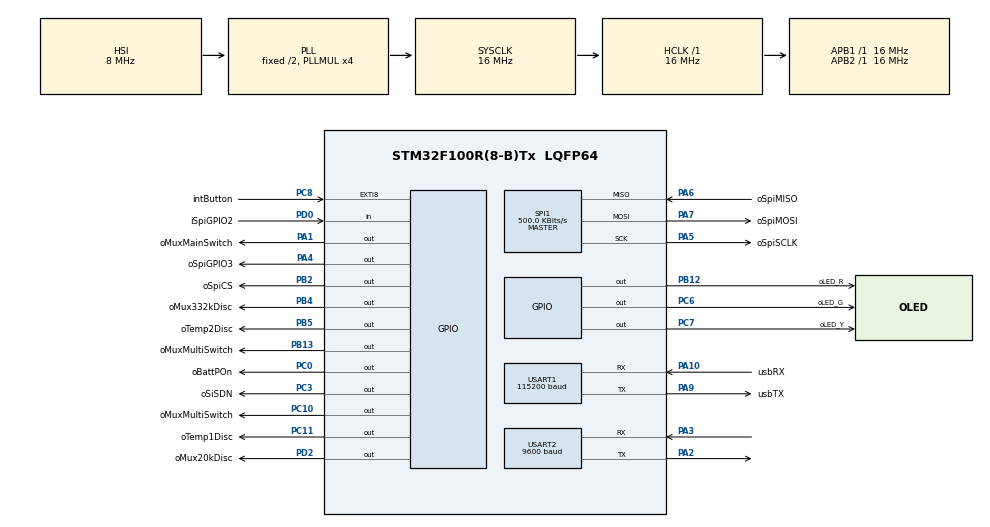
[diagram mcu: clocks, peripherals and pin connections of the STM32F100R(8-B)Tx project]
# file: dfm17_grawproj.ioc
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Dma.Request0=USART2_RX
Dma.Request1=USART2_TX
Dma.USART2_RX.0.Direction=DMA_PERIPH_TO_MEMORY
Dma.USART2_RX.0.Instance=DMA1_Channel6
Dma.USART2_RX.0.MemDataAlignment=DMA_MDATAALIGN_BYTE
Dma.USART2_RX.0.MemInc=DMA_MINC_ENABLE
Dma.USART2_RX.0.Mode=DMA_NORMAL
Dma.USART2_RX.0.PeriphDataAlignment=DMA_PDATAALIGN_BYTE
Dma.USART2_RX.0.PeriphInc=DMA_PINC_DISABLE
Dma.USART2_RX.0.Priority=DMA_PRIORITY_LOW
Dma.USART2_TX.1.Direction=DMA_MEMORY_TO_PERIPH
Dma.USART2_TX.1.Instance=DMA1_Channel7
Dma.USART2_TX.1.MemDataAlignment=DMA_MDATAALIGN_BYTE
Dma.USART2_TX.1.MemInc=DMA_MINC_ENABLE
Dma.USART2_TX.1.Mode=DMA_NORMAL
Dma.USART2_TX.1.PeriphDataAlignment=DMA_PDATAALIGN_BYTE
Dma.USART2_TX.1.PeriphInc=DMA_PINC_DISABLE
Dma.USART2_TX.1.Priority=DMA_PRIORITY_LOW
Mcu.Family=STM32F1
Mcu.Name=STM32F100R(8-B)Tx
Mcu.Package=LQFP64
NVIC.DMA1_Channel6_IRQn=true\:1\:0\:true\:false\:true\:false\:true\:true
NVIC.DMA1_Channel7_IRQn=true\:2\:0\:true\:false\:true\:false\:true\:true
NVIC.EXTI9_5_IRQn=true\:4\:0\:true\:false\:true\:true\:true\:true
NVIC.PriorityGroup=NVIC_PRIORITYGROUP_4
NVIC.TIM6_DAC_IRQn=true\:10\:0\:true\:false\:true\:true\:true\:true
NVIC.USART2_IRQn=true\:5\:0\:true\:false\:true\:true\:true\:true
PA1.GPIO_Label=oMuxMainSwitch
PA1.Signal=GPIO_Output
PA10.GPIO_Label=usbRX
PA10.Mode=Asynchronous
PA10.Signal=USART1_RX
PA11.Signal=S_TIM1_CH4
PA12.Signal=S_TIM1_ETR
PA13.Mode=Serial_Wire
PA13.Signal=SYS_JTMS-SWDIO
PA14.Mode=Serial_Wire
PA14.Signal=SYS_JTCK-SWCLK
PA2.GPIO_Speed=GPIO_SPEED_FREQ_LOW
PA2.Mode=Asynchronous
PA2.Signal=USART2_TX
PA3.Mode=Asynchronous
PA3.Signal=USART2_RX
PA4.GPIO_Label=oSpiGPIO3
PA4.Signal=GPIO_Output
PA5.GPIO_Label=oSpiSCLK
PA5.GPIO_Speed=GPIO_SPEED_FREQ_LOW
PA5.Mode=Full_Duplex_Master
PA5.Signal=SPI1_SCK
PA6.GPIO_Label=oSpiMISO
PA6.GPIO_PuPd=GPIO_PULLUP
PA6.Mode=Full_Duplex_Master
PA6.Signal=SPI1_MISO
PA7.GPIO_Label=oSpiMOSI
PA7.GPIO_Speed=GPIO_SPEED_FREQ_LOW
PA7.Mode=Full_Duplex_Master
PA7.Signal=SPI1_MOSI
PA9.GPIO_Label=usbTX
PA9.GPIO_Speed=GPIO_SPEED_FREQ_LOW
PA9.Mode=Asynchronous
PA9.Signal=USART1_TX
PB0.Signal=TIM1_CH2N
PB12.GPIO_Label=oLED_R
PB12.Signal=GPIO_Output
PB13.GPIO_Label=oMuxMultiSwitch
PB13.Signal=GPIO_Output
PB2.GPIO_Label=oSpiCS
PB2.GPIO_PuPd=GPIO_PULLUP
PB2.PinState=GPIO_PIN_SET
PB2.Signal=GPIO_Output
PB3.Signal=SYS_JTDO-TRACESWO
PB4.GPIO_Label=oMux332kDisc
PB4.PinState=GPIO_PIN_SET
PB4.Signal=GPIO_Output
PB5.GPIO_Label=oTemp2Disc
PB5.PinState=GPIO_PIN_SET
PB5.Signal=GPIO_Output
PC0.GPIO_Label=oBattPOn
PC0.Signal=GPIO_Output
PC10.GPIO_Label=oMuxMultiSwitch
PC10.PinState=GPIO_PIN_RESET
PC10.Signal=GPIO_Output
PC11.GPIO_Label=oTemp1Disc
PC11.PinState=GPIO_PIN_SET
PC11.Signal=GPIO_Output
PC3.GPIO_Label=oSiSDN
PC3.GPIO_PuPd=GPIO_PULLUP
PC3.PinState=GPIO_PIN_SET
PC3.Signal=GPIO_Output
PC6.GPIO_Label=oLED_G
PC6.Signal=GPIO_Output
PC7.GPIO_Label=oLED_Y
PC7.Signal=GPIO_Output
PC8.GPIO_Label=intButton
PC8.Signal=GPXTI8
PD0-OSC_IN.GPIO_Label=iSpiGPIO2
PD0-OSC_IN.Signal=GPIO_Input
PD2.GPIO_Label=oMux20kDisc
PD2.PinState=GPIO_PIN_RESET
PD2.Signal=GPIO_Output
ProjectManager.HeapSize=0x200
ProjectManager.StackSize=0x400
ProjectManager.TargetToolchain=STM32CubeIDE
RCC.AHBFreq_Value=16000000
RCC.APB1Freq_Value=16000000
RCC.APB1TimFreq_Value=16000000
RCC.APB2Freq_Value=16000000
RCC.APB2TimFreq_Value=16000000
RCC.HCLKFreq_Value=16000000
RCC.PLLMUL=RCC_PLL_MUL4
RCC.SYSCLKFreq_VALUE=16000000
RCC.SYSCLKSource=RCC_SYSCLKSOURCE_PLLCLK
SH.S_TIM1_CH4.0=TIM1_CH4
SH.S_TIM1_ETR.0=TIM1_ETR
SPI1.BaudRatePrescaler=SPI_BAUDRATEPRESCALER_32
SPI1.CalculateBaudRate=500.0 KBits/s
SPI1.Direction=SPI_DIRECTION_2LINES
SPI1.Mode=SPI_MODE_MASTER
SPI1.VirtualType=VM_MASTER
TIM1.Period=0xffff-1
TIM1.Prescaler=16-1
TIM3.Period=0xffff-1
TIM3.Prescaler=16-1
TIM6.Period=50000-1
TIM6.Prescaler=1600-1
USART1.BaudRate=115200
USART1.VirtualMode=VM_ASYNC
USART2.BaudRate=9600
USART2.VirtualMode=VM_ASYNC
VP_TIM1_VS_ClockSourceINT.Mode=Internal
VP_TIM3_VS_ClockSourceINT.Mode=Internal
VP_TIM6_VS_ClockSourceINT.Mode=Enable_Timer
board=custom

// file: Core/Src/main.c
/* USER CODE BEGIN Header */
/**
  ******************************************************************************
  * @file           : main.c
  * @brief          : Main program body
  ******************************************************************************
  * @attention
  *
  * Copyright (c) 2023 STMicroelectronics.
  * All rights reserved.
  *
  * This software is licensed under terms that can be found in the LICENSE file
  * in the root directory of this software component.
  * If no LICENSE file comes with this software, it is provided AS-IS.
  *
  ******************************************************************************
  * Timer  	Priority    Purpose
  * TIM1 				To be used with temperature/humidity mux
  * TIM3 				Delay_us function (should probably move)
  * TIM6 	10			Tick timer for GPS updates
  *
  * DMA		Priority	Purpose
  * 6		1			RX from GPS
  * 7		2			TX to GPS
  *
  ******************************************************************************
  */
/* USER CODE END Header */
#include "main.h"

/* USER CODE BEGIN Includes */
#include <GNSS.h>

/* USER CODE END Includes */

SPI_HandleTypeDef hspi1;

TIM_HandleTypeDef htim1;
TIM_HandleTypeDef htim3;
TIM_HandleTypeDef htim6;

UART_HandleTypeDef huart1;
UART_HandleTypeDef huart2;
DMA_HandleTypeDef hdma_usart2_rx;
DMA_HandleTypeDef hdma_usart2_tx;

/* USER CODE BEGIN PV */
uint8_t txDone;
uint8_t rxDone;

GNSS_StateHandle GNSS_Handle;

/* USER CODE END PV */

void SystemClock_Config(void);
static void MX_GPIO_Init(void);
static void MX_DMA_Init(void);
static void MX_SPI1_Init(void);
static void MX_TIM1_Init(void);
static void MX_USART1_UART_Init(void);
static void MX_USART2_UART_Init(void);
static void MX_TIM3_Init(void);
static void MX_TIM6_Init(void);

int main(void)
{

  /* MCU Configuration--------------------------------------------------------*/

  /* Reset of all peripherals, Initializes the Flash interface and the Systick. */
  HAL_Init();

  /* Configure the system clock */
  SystemClock_Config();

  /* Initialize all configured peripherals */
  MX_GPIO_Init();
  MX_DMA_Init();
  MX_SPI1_Init();
  MX_TIM1_Init();
  MX_USART1_UART_Init();
  MX_USART2_UART_Init();
  MX_TIM3_Init();
  MX_TIM6_Init();
  /* USER CODE BEGIN 2 */

  printf("Initializing radio...\r\n");
  vRadio_Init();

  printf("Starting radio...\r\n");
  vRadio_StartTx(pRadioConfiguration->Radio_ChannelNumber, NULL);

  txDone = 0xFF;
  rxDone = 0xFF;

  printf("Starting ublox...\r\n");
  GNSS_Init(&GNSS_Handle, &huart2, &txDone, &rxDone);
  HAL_Delay(1000);
  GNSS_LoadConfig(&GNSS_Handle);

  //Start Timer 6, 5sec interrupt timer for gps updates
  if (HAL_TIM_Base_Start_IT(&htim6) != HAL_OK)
  {
	  /* Starting Error */
  	  Error_Handler();
  }

  /* USER CODE END 2 */

  /* Infinite loop */
  while (1)
  {

    /* USER CODE BEGIN 3 */
	#if (RADIO_MODE_SELECT == 1)
	radioToneForGraw();
	#endif

  }
  /* USER CODE END 3 */
}

void SystemClock_Config(void)
{
  RCC_OscInitTypeDef RCC_OscInitStruct = {0};
  RCC_ClkInitTypeDef RCC_ClkInitStruct = {0};

  /** Initializes the RCC Oscillators according to the specified parameters
  * in the RCC_OscInitTypeDef structure.
  */
  RCC_OscInitStruct.OscillatorType = RCC_OSCILLATORTYPE_HSI;
  RCC_OscInitStruct.HSIState = RCC_HSI_ON;
  RCC_OscInitStruct.HSICalibrationValue = RCC_HSICALIBRATION_DEFAULT;
  RCC_OscInitStruct.PLL.PLLState = RCC_PLL_ON;
  RCC_OscInitStruct.PLL.PLLSource = RCC_PLLSOURCE_HSI_DIV2;
  RCC_OscInitStruct.PLL.PLLMUL = RCC_PLL_MUL4;
  if (HAL_RCC_OscConfig(&RCC_OscInitStruct) != HAL_OK)
  {
    Error_Handler();
  }

  /** Initializes the CPU, AHB and APB buses clocks
  */
  RCC_ClkInitStruct.ClockType = RCC_CLOCKTYPE_HCLK|RCC_CLOCKTYPE_SYSCLK
                              |RCC_CLOCKTYPE_PCLK1|RCC_CLOCKTYPE_PCLK2;
  RCC_ClkInitStruct.SYSCLKSource = RCC_SYSCLKSOURCE_PLLCLK;
  RCC_ClkInitStruct.AHBCLKDivider = RCC_SYSCLK_DIV1;
  RCC_ClkInitStruct.APB1CLKDivider = RCC_HCLK_DIV1;
  RCC_ClkInitStruct.APB2CLKDivider = RCC_HCLK_DIV1;

  if (HAL_RCC_ClockConfig(&RCC_ClkInitStruct, FLASH_LATENCY_0) != HAL_OK)
  {
    Error_Handler();
  }
}

static void MX_SPI1_Init(void)
{

  /* SPI1 parameter configuration*/
  hspi1.Instance = SPI1;
  hspi1.Init.Mode = SPI_MODE_MASTER;
  hspi1.Init.Direction = SPI_DIRECTION_2LINES;
  hspi1.Init.DataSize = SPI_DATASIZE_8BIT;
  hspi1.Init.CLKPolarity = SPI_POLARITY_LOW;
  hspi1.Init.CLKPhase = SPI_PHASE_1EDGE;
  hspi1.Init.NSS = SPI_NSS_SOFT;
  hspi1.Init.BaudRatePrescaler = SPI_BAUDRATEPRESCALER_32;
  hspi1.Init.FirstBit = SPI_FIRSTBIT_MSB;
  hspi1.Init.TIMode = SPI_TIMODE_DISABLE;
  hspi1.Init.CRCCalculation = SPI_CRCCALCULATION_DISABLE;
  hspi1.Init.CRCPolynomial = 10;
  if (HAL_SPI_Init(&hspi1) != HAL_OK)
  {
    Error_Handler();
  }

}

static void MX_TIM1_Init(void)
{

  TIM_ClockConfigTypeDef sClockSourceConfig = {0};
  TIM_MasterConfigTypeDef sMasterConfig = {0};

  htim1.Instance = TIM1;
  htim1.Init.Prescaler = 16-1;
  htim1.Init.CounterMode = TIM_COUNTERMODE_UP;
  htim1.Init.Period = 0xffff-1;
  htim1.Init.ClockDivision = TIM_CLOCKDIVISION_DIV1;
  htim1.Init.RepetitionCounter = 0;
  htim1.Init.AutoReloadPreload = TIM_AUTORELOAD_PRELOAD_DISABLE;
  if (HAL_TIM_Base_Init(&htim1) != HAL_OK)
  {
    Error_Handler();
  }
  sClockSourceConfig.ClockSource = TIM_CLOCKSOURCE_INTERNAL;
  if (HAL_TIM_ConfigClockSource(&htim1, &sClockSourceConfig) != HAL_OK)
  {
    Error_Handler();
  }
  sMasterConfig.MasterOutputTrigger = TIM_TRGO_RESET;
  sMasterConfig.MasterSlaveMode = TIM_MASTERSLAVEMODE_DISABLE;
  if (HAL_TIMEx_MasterConfigSynchronization(&htim1, &sMasterConfig) != HAL_OK)
  {
    Error_Handler();
  }
  /* USER CODE BEGIN TIM1_Init 2 */
  HAL_TIM_Base_Start(&htim1); //start timer 1

  /* USER CODE END TIM1_Init 2 */

}

static void MX_TIM3_Init(void)
{

  TIM_ClockConfigTypeDef sClockSourceConfig = {0};
  TIM_MasterConfigTypeDef sMasterConfig = {0};

  htim3.Instance = TIM3;
  htim3.Init.Prescaler = 16-1;
  htim3.Init.CounterMode = TIM_COUNTERMODE_UP;
  htim3.Init.Period = 0xffff-1;
  htim3.Init.ClockDivision = TIM_CLOCKDIVISION_DIV1;
  htim3.Init.AutoReloadPreload = TIM_AUTORELOAD_PRELOAD_DISABLE;
  if (HAL_TIM_Base_Init(&htim3) != HAL_OK)
  {
    Error_Handler();
  }
  sClockSourceConfig.ClockSource = TIM_CLOCKSOURCE_INTERNAL;
  if (HAL_TIM_ConfigClockSource(&htim3, &sClockSourceConfig) != HAL_OK)
  {
    Error_Handler();
  }
  sMasterConfig.MasterOutputTrigger = TIM_TRGO_RESET;
  sMasterConfig.MasterSlaveMode = TIM_MASTERSLAVEMODE_DISABLE;
  if (HAL_TIMEx_MasterConfigSynchronization(&htim3, &sMasterConfig) != HAL_OK)
  {
    Error_Handler();
  }
  /* USER CODE BEGIN TIM3_Init 2 */
  delayTimerInit(&htim3);

  /* USER CODE END TIM3_Init 2 */

}

static void MX_TIM6_Init(void)
{

  TIM_MasterConfigTypeDef sMasterConfig = {0};

  htim6.Instance = TIM6;
  htim6.Init.Prescaler = 1600-1;
  htim6.Init.CounterMode = TIM_COUNTERMODE_UP;
  htim6.Init.Period = 50000-1;
  htim6.Init.AutoReloadPreload = TIM_AUTORELOAD_PRELOAD_DISABLE;
  if (HAL_TIM_Base_Init(&htim6) != HAL_OK)
  {
    Error_Handler();
  }
  sMasterConfig.MasterOutputTrigger = TIM_TRGO_RESET;
  sMasterConfig.MasterSlaveMode = TIM_MASTERSLAVEMODE_DISABLE;
  if (HAL_TIMEx_MasterConfigSynchronization(&htim6, &sMasterConfig) != HAL_OK)
  {
    Error_Handler();
  }

}

static void MX_USART1_UART_Init(void)
{

  huart1.Instance = USART1;
  huart1.Init.BaudRate = 115200;
  huart1.Init.WordLength = UART_WORDLENGTH_8B;
  huart1.Init.StopBits = UART_STOPBITS_1;
  huart1.Init.Parity = UART_PARITY_NONE;
  huart1.Init.Mode = UART_MODE_TX_RX;
  huart1.Init.HwFlowCtl = UART_HWCONTROL_NONE;
  huart1.Init.OverSampling = UART_OVERSAMPLING_16;
  if (HAL_UART_Init(&huart1) != HAL_OK)
  {
    Error_Handler();
  }
  /* USER CODE BEGIN USART1_Init 2 */
  SpiEnable();
  /* USER CODE END USART1_Init 2 */

}

static void MX_USART2_UART_Init(void)
{

  huart2.Instance = USART2;
  huart2.Init.BaudRate = 9600;
  huart2.Init.WordLength = UART_WORDLENGTH_8B;
  huart2.Init.StopBits = UART_STOPBITS_1;
  huart2.Init.Parity = UART_PARITY_NONE;
  huart2.Init.Mode = UART_MODE_TX_RX;
  huart2.Init.HwFlowCtl = UART_HWCONTROL_NONE;
  huart2.Init.OverSampling = UART_OVERSAMPLING_16;
  if (HAL_UART_Init(&huart2) != HAL_OK)
  {
    Error_Handler();
  }

}

static void MX_DMA_Init(void)
{

  /* DMA controller clock enable */
  __HAL_RCC_DMA1_CLK_ENABLE();

  /* DMA interrupt init */
  /* DMA1_Channel6_IRQn interrupt configuration */
  HAL_NVIC_SetPriority(DMA1_Channel6_IRQn, 1, 0);
  HAL_NVIC_EnableIRQ(DMA1_Channel6_IRQn);
  /* DMA1_Channel7_IRQn interrupt configuration */
  HAL_NVIC_SetPriority(DMA1_Channel7_IRQn, 2, 0);
  HAL_NVIC_EnableIRQ(DMA1_Channel7_IRQn);

}

static void MX_GPIO_Init(void)
{
  GPIO_InitTypeDef GPIO_InitStruct = {0};

  /* GPIO Ports Clock Enable */
  __HAL_RCC_GPIOD_CLK_ENABLE();
  __HAL_RCC_GPIOC_CLK_ENABLE();
  __HAL_RCC_GPIOA_CLK_ENABLE();
  __HAL_RCC_GPIOB_CLK_ENABLE();

  /*Configure GPIO pin Output Level */
  HAL_GPIO_WritePin(GPIOC, oBattPOn_Pin|oLED_G_Pin|oLED_Y_Pin|oMuxMultiSwitchC10_Pin, GPIO_PIN_RESET);

  /*Configure GPIO pin Output Level */
  HAL_GPIO_WritePin(GPIOC, oSiSDN_Pin|oTemp1Disc_Pin, GPIO_PIN_SET);

  /*Configure GPIO pin Output Level */
  HAL_GPIO_WritePin(GPIOA, oMuxMainSwitch_Pin|oSpiGPIO3_Pin, GPIO_PIN_RESET);

  /*Configure GPIO pin Output Level */
  HAL_GPIO_WritePin(GPIOB, oSpiCS_Pin|oMux332kDisc_Pin|oTemp2Disc_Pin, GPIO_PIN_SET);

  /*Configure GPIO pin Output Level */
  HAL_GPIO_WritePin(GPIOB, oLED_R_Pin|oMuxMultiSwitch_Pin, GPIO_PIN_RESET);

  /*Configure GPIO pin Output Level */
  HAL_GPIO_WritePin(oMux20kDisc_GPIO_Port, oMux20kDisc_Pin, GPIO_PIN_RESET);

  /*Configure GPIO pin : iSpiGPIO2_Pin */
  GPIO_InitStruct.Pin = iSpiGPIO2_Pin;
  GPIO_InitStruct.Mode = GPIO_MODE_INPUT;
  GPIO_InitStruct.Pull = GPIO_NOPULL;
  HAL_GPIO_Init(iSpiGPIO2_GPIO_Port, &GPIO_InitStruct);

  /*Configure GPIO pins : oBattPOn_Pin oLED_G_Pin oLED_Y_Pin oMuxMultiSwitchC10_Pin
                           oTemp1Disc_Pin */
  GPIO_InitStruct.Pin = oBattPOn_Pin|oLED_G_Pin|oLED_Y_Pin|oMuxMultiSwitchC10_Pin
                          |oTemp1Disc_Pin;
  GPIO_InitStruct.Mode = GPIO_MODE_OUTPUT_PP;
  GPIO_InitStruct.Pull = GPIO_NOPULL;
  GPIO_InitStruct.Speed = GPIO_SPEED_FREQ_LOW;
  HAL_GPIO_Init(GPIOC, &GPIO_InitStruct);

  /*Configure GPIO pin : oSiSDN_Pin */
  GPIO_InitStruct.Pin = oSiSDN_Pin;
  GPIO_InitStruct.Mode = GPIO_MODE_OUTPUT_PP;
  GPIO_InitStruct.Pull = GPIO_PULLUP;
  GPIO_InitStruct.Speed = GPIO_SPEED_FREQ_LOW;
  HAL_GPIO_Init(oSiSDN_GPIO_Port, &GPIO_InitStruct);

  /*Configure GPIO pins : oMuxMainSwitch_Pin oSpiGPIO3_Pin */
  GPIO_InitStruct.Pin = oMuxMainSwitch_Pin|oSpiGPIO3_Pin;
  GPIO_InitStruct.Mode = GPIO_MODE_OUTPUT_PP;
  GPIO_InitStruct.Pull = GPIO_NOPULL;
  GPIO_InitStruct.Speed = GPIO_SPEED_FREQ_LOW;
  HAL_GPIO_Init(GPIOA, &GPIO_InitStruct);

  /*Configure GPIO pin : oSpiCS_Pin */
  GPIO_InitStruct.Pin = oSpiCS_Pin;
  GPIO_InitStruct.Mode = GPIO_MODE_OUTPUT_PP;
  GPIO_InitStruct.Pull = GPIO_PULLUP;
  GPIO_InitStruct.Speed = GPIO_SPEED_FREQ_LOW;
  HAL_GPIO_Init(oSpiCS_GPIO_Port, &GPIO_InitStruct);

  /*Configure GPIO pins : oLED_R_Pin oMuxMultiSwitch_Pin oMux332kDisc_Pin oTemp2Disc_Pin */
  GPIO_InitStruct.Pin = oLED_R_Pin|oMuxMultiSwitch_Pin|oMux332kDisc_Pin|oTemp2Disc_Pin;
  GPIO_InitStruct.Mode = GPIO_MODE_OUTPUT_PP;
  GPIO_InitStruct.Pull = GPIO_NOPULL;
  GPIO_InitStruct.Speed = GPIO_SPEED_FREQ_LOW;
  HAL_GPIO_Init(GPIOB, &GPIO_InitStruct);

  /*Configure GPIO pin : intButton_Pin */
  GPIO_InitStruct.Pin = intButton_Pin;
  GPIO_InitStruct.Mode = GPIO_MODE_IT_RISING;
  GPIO_InitStruct.Pull = GPIO_NOPULL;
  HAL_GPIO_Init(intButton_GPIO_Port, &GPIO_InitStruct);

  /*Configure GPIO pin : oMux20kDisc_Pin */
  GPIO_InitStruct.Pin = oMux20kDisc_Pin;
  GPIO_InitStruct.Mode = GPIO_MODE_OUTPUT_PP;
  GPIO_InitStruct.Pull = GPIO_NOPULL;
  GPIO_InitStruct.Speed = GPIO_SPEED_FREQ_LOW;
  HAL_GPIO_Init(oMux20kDisc_GPIO_Port, &GPIO_InitStruct);

  /*Configure peripheral I/O remapping */
  __HAL_AFIO_REMAP_PD01_ENABLE();

  /* EXTI interrupt init*/
  HAL_NVIC_SetPriority(EXTI9_5_IRQn, 4, 0);
  HAL_NVIC_EnableIRQ(EXTI9_5_IRQn);

}

/* USER CODE BEGIN 4 */

void HAL_UART_TxCpltCallback(UART_HandleTypeDef *huart)	{
	//printf("  TxComplete callback!\r\n");
	GNSS_Handle.txDone = 1;
}

void HAL_UART_RxCpltCallback(UART_HandleTypeDef *huart) {
	//printf("  RxComplete callback!\r\n");
	GNSS_ParseBuffer(&GNSS_Handle);
	GNSS_Handle.rxDone = 1;
}

void gpsUpdate(void) {
		printf("GPS Update!\r\n");

		if( GNSS_Handle.uniqueID[0] == 0x00 && GNSS_Handle.uniqueID[1] == 0x00 &&
				GNSS_Handle.uniqueID[2] == 0x00 && GNSS_Handle.uniqueID[3] == 0x00 &&
				GNSS_Handle.uniqueID[4] == 0x00) {
			GNSS_GetUniqID(&GNSS_Handle);

		}

		GNSS_GetPVTData(&GNSS_Handle);

		if(GNSS_Handle.selectedMode == ModeNotSet){
			GNSS_SetMode(&GNSS_Handle,ModeAutomotive);
		}

		printf("Status of fix: %d \r\n", GNSS_Handle.fixType);

		if(GNSS_Handle.fixType >= Fix2D) {
			printf("Day: %d-%02d-%02d \r\n", GNSS_Handle.year, GNSS_Handle.month,GNSS_Handle.day);
			printf("Time: %02d:%02d:%02d UTC \r\n", GNSS_Handle.hour, GNSS_Handle.min,GNSS_Handle.sec);

			printf("Number of Sats: %d \r\n", GNSS_Handle.numSV);

			printf("Latitude: %f \r\n", GNSS_Handle.fLat);
			printf("Longitude: %f \r\n",(float) GNSS_Handle.lon / 10000000.0);

		}
		printf("Unique ID: %02X %02X %02X %02X %02X \r\n",
			GNSS_Handle.uniqueID[0], GNSS_Handle.uniqueID[1],
			GNSS_Handle.uniqueID[2], GNSS_Handle.uniqueID[3],
			GNSS_Handle.uniqueID[4]);
		printf("\r\n");

}

int __io_putchar(int ch) {
 // Write character to ITM ch.0
 ITM_SendChar(ch);
 return(ch);
}

int _write(int file, char *ptr, int len) {
    //for (int DataIdx = 0; DataIdx < len; DataIdx++)
    //    ITM_SendChar(*ptr++);
	HAL_UART_Transmit(&huart1, ptr, len, HAL_MAX_DELAY);
    return len;
}

/* USER CODE END 4 */

void Error_Handler(void)
{
  __disable_irq();
  while (1)
  {
  }
}
